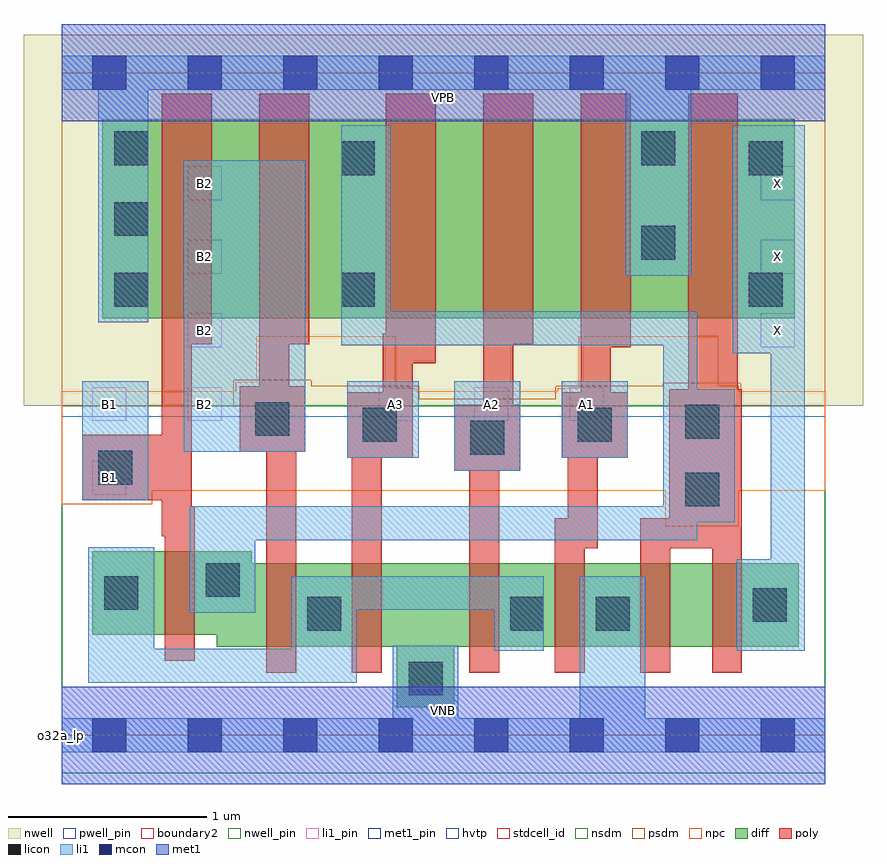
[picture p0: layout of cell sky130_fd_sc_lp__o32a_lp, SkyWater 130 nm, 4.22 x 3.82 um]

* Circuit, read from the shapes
.subckt sky130_fd_sc_lp__o32a_lp A1 A2 A3 B1 B2 VGND VNB VPB VPWR X
XM1 n1 B1 n2 VNB sky130_fd_pr__nfet_01v8 w=0.42 l=0.15
XM2 n2 B2 n1 VNB sky130_fd_pr__nfet_01v8 w=0.42 l=0.15
XM3 VGND A3 n2 VNB sky130_fd_pr__nfet_01v8 w=0.42 l=0.15
XM4 n2 A2 VGND VNB sky130_fd_pr__nfet_01v8 w=0.42 l=0.15
XM5 VGND A1 n2 VNB sky130_fd_pr__nfet_01v8 w=0.42 l=0.15
XM6 n3 n1 VGND VNB sky130_fd_pr__nfet_01v8 w=0.42 l=0.15
XM7 X n1 n3 VNB sky130_fd_pr__nfet_01v8 w=0.42 l=0.15
XM8 n4 B1 VPWR VPB sky130_fd_pr__pfet_01v8_hvt w=1 l=0.25
XM9 n1 B2 n4 VPB sky130_fd_pr__pfet_01v8_hvt w=1 l=0.25
XM10 n5 A3 n1 VPB sky130_fd_pr__pfet_01v8_hvt w=1 l=0.25
XM11 n6 A2 n5 VPB sky130_fd_pr__pfet_01v8_hvt w=1 l=0.25
XM12 VPWR A1 n6 VPB sky130_fd_pr__pfet_01v8_hvt w=1 l=0.25
XM13 X n1 VPWR VPB sky130_fd_pr__pfet_01v8_hvt w=1 l=0.25
.ends

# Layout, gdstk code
import gdstk
lib = gdstk.Library(unit=1e-6, precision=1e-09)
def R(c, l, rs):  # rectangles x0, y0, x1, y1
    for r in rs: c.add(gdstk.rectangle(r[:2], r[2:], *l))
def A(c, l, x, y, w, h, nx, ny, dx, dy):  # array of equal rectangles
    R(c, l, [(x+i*dx, y+j*dy, x+i*dx+w, y+j*dy+h) for i in range(nx) for j in range(ny)])
def P(c, l, *ps):  # polygons
    for p in ps: c.add(gdstk.Polygon(p, *l))
nwell_pin = (64, 16)
nwell = (64, 20)
diff = (65, 20)
poly = (66, 20)
licon = (66, 44)
li1_pin = (67, 16)
li1 = (67, 20)
mcon = (67, 44)
met1_pin = (68, 16)
met1 = (68, 20)
hvtp = (78, 44)
stdcell_id = (81, 4)
nsdm = (93, 44)
psdm = (94, 20)
npc = (95, 20)
pwell_pin = (122, 16)
boundary2 = (236, 0)

sky130_fd_sc_lp__o32a_lp = lib.new_cell('sky130_fd_sc_lp__o32a_lp')
R(sky130_fd_sc_lp__o32a_lp, nwell_pin, [(0,3.085,3.84,3.33)])
R(sky130_fd_sc_lp__o32a_lp, nwell, [(-0.19,1.655,4.03,3.52)])
R(sky130_fd_sc_lp__o32a_lp, diff, [(0.205,2.095,3.685,3.095)])
P(sky130_fd_sc_lp__o32a_lp, diff, [(3.705,0.865),(0.955,0.865),(0.955,0.925),(0.155,0.925),(0.155,0.505),(0.78,0.505),(0.78,0.445),(1.685,0.445),(1.685,0.14),(1.975,0.14),(1.975,0.445),(3.705,0.445)])
P(sky130_fd_sc_lp__o32a_lp, poly, [(0.755,3.225),(0.505,3.225),(0.505,1.51),(0.105,1.51),(0.105,1.18),(0.505,1.18),(0.505,1),(0.52,1),(0.52,0.375),(0.67,0.375),(0.67,1.15),(0.655,1.15),(0.655,1.965),(0.755,1.965)],
  [(1.245,3.225),(0.995,3.225),(0.995,1.755),(0.895,1.755),(0.895,1.425),(1.03,1.425),(1.03,0.315),(1.18,0.315),(1.18,1.425),(1.225,1.425),(1.225,1.755),(1.145,1.755),(1.145,1.965),(1.245,1.965)],
  [(1.88,3.225),(1.63,3.225),(1.63,2.02),(1.615,2.02),(1.615,1.725),(1.435,1.725),(1.435,1.395),(1.46,1.395),(1.46,0.315),(1.61,0.315),(1.61,1.395),(1.765,1.395),(1.765,1.87),(1.88,1.87)],
  [(2.37,3.225),(2.12,3.225),(2.12,1.66),(1.975,1.66),(1.975,1.33),(2.05,1.33),(2.05,0.315),(2.2,0.315),(2.2,1.33),(2.305,1.33),(2.305,1.66),(2.27,1.66),(2.27,1.965),(2.37,1.965)],
  [(2.86,3.225),(2.61,3.225),(2.61,1.725),(2.515,1.725),(2.515,1.395),(2.545,1.395),(2.545,1.09),(2.48,1.09),(2.48,0.315),(2.63,0.315),(2.63,0.94),(2.695,0.94),(2.695,1.395),(2.845,1.395),(2.845,1.725),(2.76,1.725),(2.76,1.95),(2.86,1.95)],
  [(3.42,1.74),(3.4,1.74),(3.4,3.225),(3.15,3.225),(3.15,1.74),(3.055,1.74),(3.055,1.09),(2.91,1.09),(2.91,0.315),(3.06,0.315),(3.06,0.94),(3.27,0.94),(3.27,0.315),(3.42,0.315)])
A(sky130_fd_sc_lp__o32a_lp, licon, 0.265, 2.155, 0.17, 0.17, 1, 3, 0, 0.355)
R(sky130_fd_sc_lp__o32a_lp, licon, [(1.745,0.2,1.915,0.37), (1.235,0.525,1.405,0.695), (2.255,0.525,2.425,0.695), (2.685,0.525,2.855,0.695), (3.475,0.57,3.645,0.74), (0.215,0.63,0.385,0.8), (0.725,0.695,0.895,0.865), (3.135,1.15,3.305,1.32), (0.185,1.26,0.355,1.43), (2.055,1.41,2.225,1.58), (1.515,1.475,1.685,1.645), (2.595,1.475,2.765,1.645), (3.135,1.49,3.305,1.66), (0.975,1.505,1.145,1.675), (1.405,2.155,1.575,2.325), (3.455,2.155,3.625,2.325), (2.915,2.39,3.085,2.56), (1.405,2.815,1.575,2.985), (3.455,2.815,3.625,2.985), (2.915,2.865,3.085,3.035)])
A(sky130_fd_sc_lp__o32a_lp, li1_pin, 0.635, 1.58, 0.17, 0.17, 1, 4, 0, 0.37)
A(sky130_fd_sc_lp__o32a_lp, li1_pin, 1.595, 1.58, 0.17, 0.17, 3, 1, 0.48, 0)
A(sky130_fd_sc_lp__o32a_lp, li1_pin, 3.515, 1.95, 0.17, 0.17, 1, 3, 0, 0.37)
R(sky130_fd_sc_lp__o32a_lp, li1_pin, [(0.155,1.21,0.325,1.38), (0.155,1.58,0.325,1.75)])
R(sky130_fd_sc_lp__o32a_lp, li1, [(0.105,1.18,0.435,1.78), (1.975,1.33,2.305,1.78), (1.435,1.395,1.795,1.78), (2.515,1.395,2.845,1.78), (0.615,1.425,1.225,2.89)])
P(sky130_fd_sc_lp__o32a_lp, li1, [(0.185,2.075),(0.185,3.245),(0,3.245),(0,3.415),(3.84,3.415),(3.84,3.245),(3.165,3.245),(3.165,2.31),(2.835,2.31),(2.835,3.245),(0.435,3.245),(0.435,2.075)],
  [(1.665,0.085),(1.665,0.45),(1.995,0.45),(1.995,0.085),(2.605,0.085),(2.605,0.8),(2.935,0.8),(2.935,0.085),(3.84,0.085),(3.84,-0.085),(0,-0.085),(0,0.085)],
  [(0.645,1.15),(3.025,1.15),(3.025,1.96),(1.405,1.96),(1.405,3.065),(1.655,3.065),(1.655,2.13),(3.195,2.13),(3.195,1.74),(3.385,1.74),(3.385,1.07),(3.195,1.07),(3.195,0.98),(0.975,0.98),(0.975,0.615),(0.645,0.615)],
  [(1.155,0.435),(1.155,0.8),(2.425,0.8),(2.425,0.425),(2.175,0.425),(2.175,0.63),(1.485,0.63),(1.485,0.265),(0.135,0.265),(0.135,0.945),(0.465,0.945),(0.465,0.435)],
  [(3.565,0.885),(3.565,1.92),(3.375,1.92),(3.375,3.065),(3.735,3.065),(3.735,0.425),(3.395,0.425),(3.395,0.885)])
A(sky130_fd_sc_lp__o32a_lp, mcon, 0.155, -0.085, 0.17, 0.17, 8, 2, 0.48, 3.33)
R(sky130_fd_sc_lp__o32a_lp, met1_pin, [(0,0,3.84,0.245), (0,3.085,3.84,3.33)])
R(sky130_fd_sc_lp__o32a_lp, met1, [(0,-0.245,3.84,0.245), (0,3.085,3.84,3.575)])
R(sky130_fd_sc_lp__o32a_lp, hvtp, [(0,1.6,3.84,3.33)])
R(sky130_fd_sc_lp__o32a_lp, stdcell_id, [(0,0,3.84,3.33)])
R(sky130_fd_sc_lp__o32a_lp, nsdm, [(0,-0.19,3.84,1.655)])
P(sky130_fd_sc_lp__o32a_lp, psdm, [(3.84,3.52),(0,3.52),(0,1.655),(0.865,1.655),(0.865,1.785),(1.255,1.785),(1.255,1.755),(1.795,1.755),(1.795,1.69),(2.485,1.69),(2.485,1.755),(3.025,1.755),(3.025,1.77),(3.415,1.77),(3.415,1.655),(3.84,1.655)])
P(sky130_fd_sc_lp__o32a_lp, npc, [(3.84,1.73),(3.405,1.73),(3.405,1.76),(3.3,1.76),(3.3,2.005),(2.6,2.005),(2.6,1.745),(2.495,1.745),(2.495,1.73),(1.785,1.73),(1.785,1.745),(1.68,1.745),(1.68,2.005),(0.98,2.005),(0.98,1.775),(0.875,1.775),(0.875,1.73),(0,1.73),(0,1.16),(0.455,1.16),(0.455,1.23),(3.035,1.23),(3.035,1.05),(3.405,1.05),(3.405,1.23),(3.84,1.23)])
R(sky130_fd_sc_lp__o32a_lp, pwell_pin, [(0,0,3.84,0.245)])
R(sky130_fd_sc_lp__o32a_lp, boundary2, [(0,0,3.84,3.33)])
sky130_fd_sc_lp__o32a_lp.add(gdstk.Label('VNB', (1.92,0.123), layer=64, texttype=59))
sky130_fd_sc_lp__o32a_lp.add(gdstk.Label('VPB', (1.92,3.208), layer=64, texttype=5))
sky130_fd_sc_lp__o32a_lp.add(gdstk.Label('o32a_lp', (0,0), layer=83, texttype=44))
sky130_fd_sc_lp__o32a_lp.add(gdstk.Label('VPWR', (1.92,3.208), layer=68, texttype=5))
sky130_fd_sc_lp__o32a_lp.add(gdstk.Label('VGND', (1.92,0.123), layer=68, texttype=5))
sky130_fd_sc_lp__o32a_lp.add(gdstk.Label('B2', (0.72,1.665), layer=67, texttype=5))
sky130_fd_sc_lp__o32a_lp.add(gdstk.Label('B2', (0.72,2.035), layer=67, texttype=5))
sky130_fd_sc_lp__o32a_lp.add(gdstk.Label('B2', (0.72,2.405), layer=67, texttype=5))
sky130_fd_sc_lp__o32a_lp.add(gdstk.Label('B2', (0.72,2.775), layer=67, texttype=5))
sky130_fd_sc_lp__o32a_lp.add(gdstk.Label('B1', (0.24,1.295), layer=67, texttype=5))
sky130_fd_sc_lp__o32a_lp.add(gdstk.Label('B1', (0.24,1.665), layer=67, texttype=5))
sky130_fd_sc_lp__o32a_lp.add(gdstk.Label('A3', (1.68,1.665), layer=67, texttype=5))
sky130_fd_sc_lp__o32a_lp.add(gdstk.Label('A2', (2.16,1.665), layer=67, texttype=5))
sky130_fd_sc_lp__o32a_lp.add(gdstk.Label('A1', (2.64,1.665), layer=67, texttype=5))
sky130_fd_sc_lp__o32a_lp.add(gdstk.Label('X', (3.6,2.035), layer=67, texttype=5))
sky130_fd_sc_lp__o32a_lp.add(gdstk.Label('X', (3.6,2.405), layer=67, texttype=5))
sky130_fd_sc_lp__o32a_lp.add(gdstk.Label('X', (3.6,2.775), layer=67, texttype=5))

lib.write_gds('sky130_fd_sc_lp__o32a_lp.gds')
